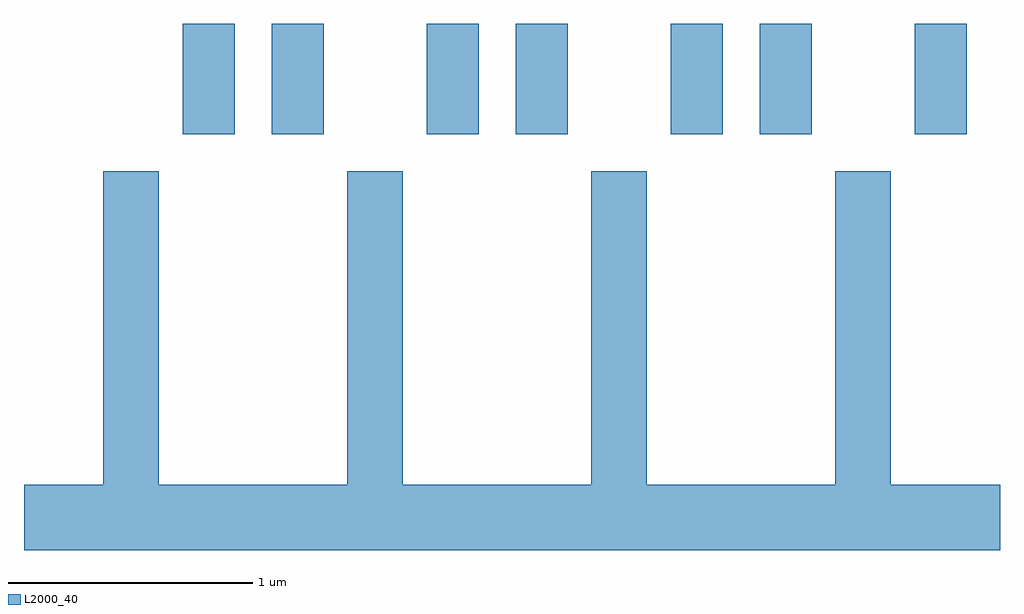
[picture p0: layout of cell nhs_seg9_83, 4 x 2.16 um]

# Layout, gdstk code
import gdstk
lib = gdstk.Library(unit=1e-6, precision=1e-09)
def R(c, l, rs):  # rectangles x0, y0, x1, y1
    for r in rs: c.add(gdstk.rectangle(r[:2], r[2:], *l))
def P(c, l, *ps):  # polygons
    for p in ps: c.add(gdstk.Polygon(p, *l))
L2000_40 = (2000, 40)

nhs_seg9_83 = lib.new_cell('nhs_seg9_83')
R(nhs_seg9_83, L2000_40, [(188.261,1977.981,188.474,1978.432), (188.626,1977.981,188.839,1978.432), (189.261,1977.981,189.474,1978.432), (189.626,1977.981,189.839,1978.432), (190.261,1977.981,190.474,1978.432), (190.626,1977.981,190.839,1978.432), (191.261,1977.981,191.474,1978.432)])
P(nhs_seg9_83, L2000_40, [(191.611,1976.544),(191.164,1976.544),(191.164,1977.829),(190.936,1977.829),(190.936,1976.544),(190.164,1976.544),(190.164,1977.829),(189.936,1977.829),(189.936,1976.544),(189.164,1976.544),(189.164,1977.829),(188.936,1977.829),(188.936,1976.544),(188.164,1976.544),(188.164,1977.829),(187.936,1977.829),(187.936,1976.544),(187.611,1976.544),(187.611,1976.276),(191.611,1976.276)])

lib.write_gds('nhs_seg9_83.gds')
